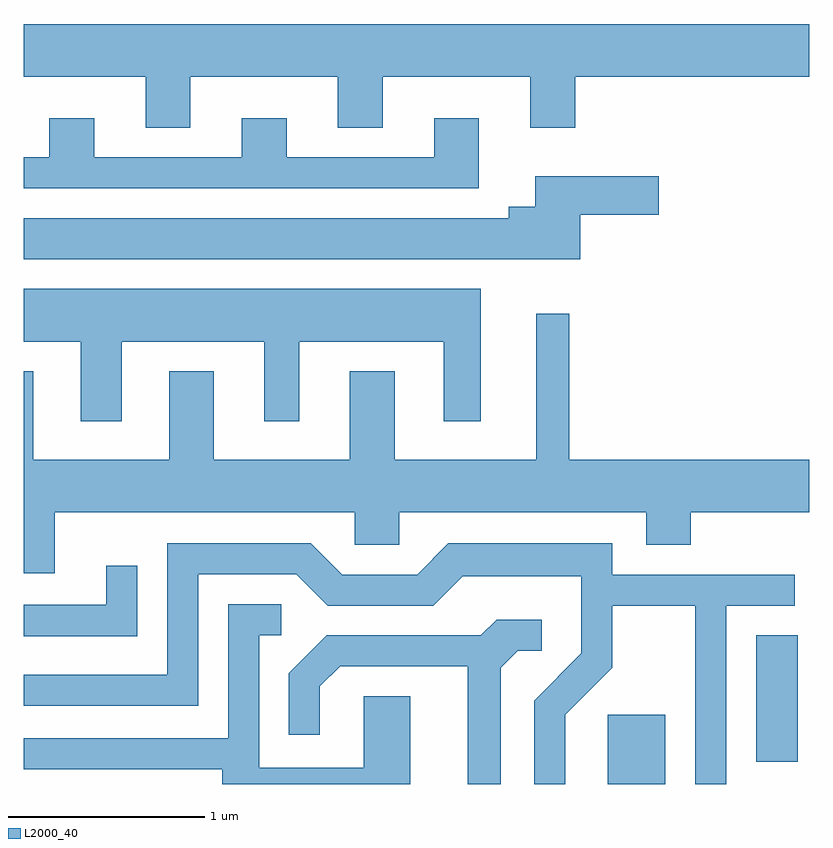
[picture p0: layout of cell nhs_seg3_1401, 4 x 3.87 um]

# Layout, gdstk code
import gdstk
lib = gdstk.Library(unit=1e-6, precision=1e-09)
def R(c, l, rs):  # rectangles x0, y0, x1, y1
    for r in rs: c.add(gdstk.rectangle(r[:2], r[2:], *l))
def P(c, l, *ps):  # polygons
    for p in ps: c.add(gdstk.Polygon(p, *l))
L2000_40 = (2000, 40)

nhs_seg3_1401 = lib.new_cell('nhs_seg3_1401')
R(nhs_seg3_1401, L2000_40, [(228.586,1197.892,228.879,1198.244), (229.341,1198.006,229.554,1198.649)])
P(nhs_seg3_1401, L2000_40, [(226.459,1201.496),(227.211,1201.496),(227.211,1201.236),(227.439,1201.236),(227.439,1201.496),(228.191,1201.496),(228.191,1201.236),(228.419,1201.236),(228.419,1201.496),(229.611,1201.496),(229.611,1201.764),(225.611,1201.764),(225.611,1201.496),(226.231,1201.496),(226.231,1201.236),(226.459,1201.236)],
  [(227.929,1201.284),(227.701,1201.284),(227.701,1201.084),(226.949,1201.084),(226.949,1201.284),(226.721,1201.284),(226.721,1201.084),(225.969,1201.084),(225.969,1201.284),(225.741,1201.284),(225.741,1201.084),(225.611,1201.084),(225.611,1200.926),(227.929,1200.926)],
  [(228.444,1200.791),(228.844,1200.791),(228.844,1200.989),(228.216,1200.989),(228.216,1200.834),(228.081,1200.834),(228.081,1200.774),(225.611,1200.774),(225.611,1200.566),(228.444,1200.566)],
  [(226.109,1200.146),(226.836,1200.146),(226.836,1199.741),(227.014,1199.741),(227.014,1200.146),(227.751,1200.146),(227.751,1199.741),(227.939,1199.741),(227.939,1200.414),(225.611,1200.414),(225.611,1200.146),(225.901,1200.146),(225.901,1199.741),(226.109,1199.741)],
  [(225.769,1199.276),(227.296,1199.276),(227.296,1199.111),(227.524,1199.111),(227.524,1199.276),(228.781,1199.276),(228.781,1199.111),(229.009,1199.111),(229.009,1199.276),(229.611,1199.276),(229.611,1199.544),(228.389,1199.544),(228.389,1200.288),(228.221,1200.288),(228.221,1199.544),(227.499,1199.544),(227.499,1199.994),(227.271,1199.994),(227.271,1199.544),(226.579,1199.544),(226.579,1199.994),(226.351,1199.994),(226.351,1199.544),(225.659,1199.544),(225.659,1199.994),(225.611,1199.994),(225.611,1198.966),(225.769,1198.966)],
  [(228.369,1198.244),(228.609,1198.484),(228.609,1198.801),(229.031,1198.801),(229.031,1197.892),(229.189,1197.892),(229.189,1198.801),(229.538,1198.801),(229.538,1198.959),(228.609,1198.959),(228.609,1199.119),(227.774,1199.119),(227.614,1198.959),(227.232,1198.959),(227.072,1199.119),(226.341,1199.119),(226.341,1198.449),(225.611,1198.449),(225.611,1198.291),(226.499,1198.291),(226.499,1198.961),(226.999,1198.961),(227.159,1198.801),(227.697,1198.801),(227.847,1198.951),(228.451,1198.951),(228.451,1198.557),(228.211,1198.317),(228.211,1197.892),(228.369,1197.892)],
  [(226.189,1199.003),(226.031,1199.003),(226.031,1198.804),(225.611,1198.804),(225.611,1198.646),(226.189,1198.646)],
  [(227.579,1198.339),(227.341,1198.339),(227.341,1197.974),(226.809,1197.974),(226.809,1198.651),(226.923,1198.651),(226.923,1198.809),(226.651,1198.809),(226.651,1198.124),(225.611,1198.124),(225.611,1197.966),(226.621,1197.966),(226.621,1197.892),(227.579,1197.892)],
  [(228.039,1198.484),(228.127,1198.571),(228.248,1198.571),(228.248,1198.729),(228.019,1198.729),(227.939,1198.649),(227.154,1198.649),(226.961,1198.457),(226.961,1198.143),(227.119,1198.143),(227.119,1198.389),(227.222,1198.491),(227.871,1198.491),(227.871,1197.892),(228.039,1197.892)])

lib.write_gds('nhs_seg3_1401.gds')
